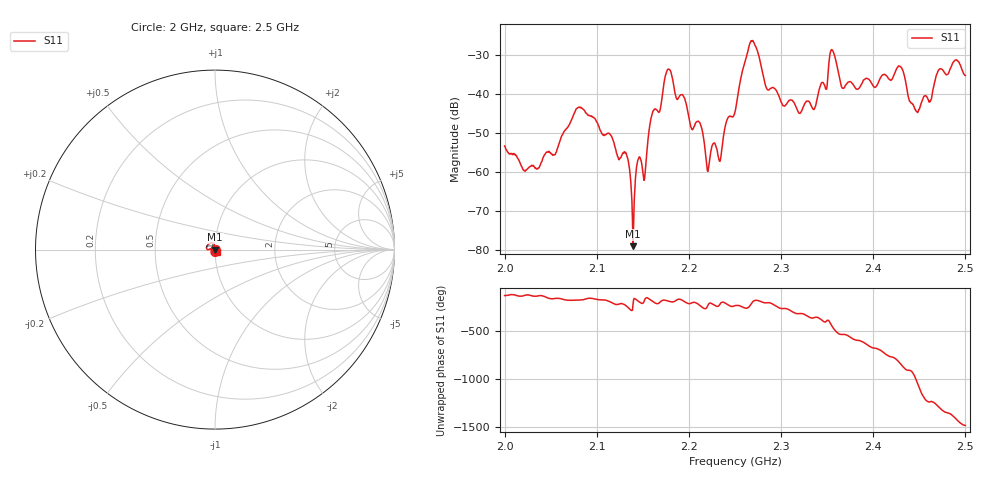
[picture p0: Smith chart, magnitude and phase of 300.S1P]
! C:\Users\rflab\Downloads\dp2_kdzw\320.S1P
! Touchstone 1.1 file saved by VNA.EXE V1.65 (www.ke5fx.com/gpib/readme.htm)
! 12/12/2024 7:10:50 PM
!  Source: HEWLETT PACKARD,8753D,0,6.14
!  Min freq: 2.000000E+009 Hz
!  Max freq: 2.500000E+009 Hz
!  Points: 801
!  Params: S21
# GHZ S MA R 50
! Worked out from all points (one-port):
!   801 points, 2 GHz to 2.5 GHz, reference 50 ohm
!   lowest |S11| = -78.9 dB at 2.139 GHz (marker M1), VSWR 1.00, Z = 50 + j0.00695 ohm
!   |S11| at or under -10 dB: start of sweep to end of sweep
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2  0.002175 -129.3
2.035  0.001099 -135.7
2.0625  0.002995 -165.6
2.0825  0.006704 -176.6
2.125  0.001519 142.7
2.133125  0.001574 112.8
2.139375  0.000113 142.0
2.144375  0.001407 176.5
2.151875  0.000827 -176.3
2.159375  0.005184 178.2
2.175625  0.0192 178.9
2.1875  0.008569 -171.5
2.211875  0.004329 126.3
2.220625  0.001026 127.9
2.23375  0.001383 140.8
2.25  0.005959 124.5
2.268125  0.04825 152.8
2.285  0.01152 155.4
2.3125  0.008225 60.0
2.33625  0.006541 0.7
2.355625  0.0368 -95.3
2.36625  0.01205 -176.4
2.375  0.0146 155.5
2.42875  0.0229 -113.7
2.4375  0.009997 169.5
2.448125  0.005823 28.3
2.4725  0.02128 132.1
2.5  0.01744 -48.2
